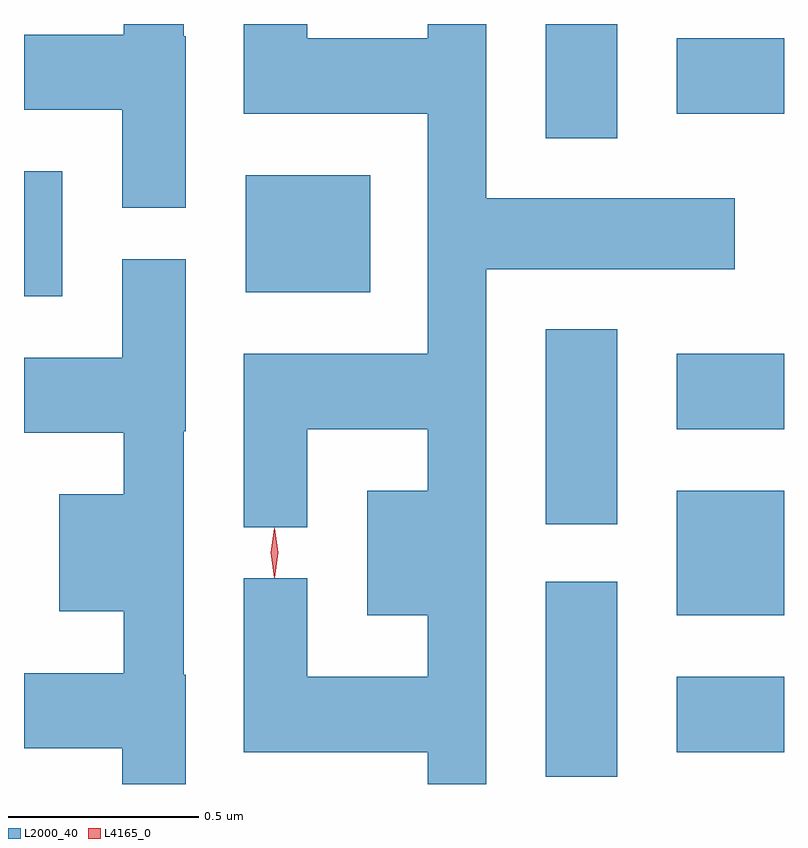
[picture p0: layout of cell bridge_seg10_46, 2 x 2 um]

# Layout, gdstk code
import gdstk
lib = gdstk.Library(unit=1e-6, precision=1e-09)
def R(c, l, rs):  # rectangles x0, y0, x1, y1
    for r in rs: c.add(gdstk.rectangle(r[:2], r[2:], *l))
def P(c, l, *ps):  # polygons
    for p in ps: c.add(gdstk.Polygon(p, *l))
L2000_40 = (2000, 40)
L4165_0 = (4165, 0)

bridge_seg10_46 = lib.new_cell('bridge_seg10_46')
R(bridge_seg10_46, L2000_40, [(1788.376,2168.581,1788.564,2169.094), (1788.721,2168.646,1789.003,2168.844), (1788.721,2169.006,1789.003,2169.334), (1788.376,2169.246,1788.564,2169.759), (1788.721,2169.496,1789.003,2169.694), (1787.003,2169.846,1787.104,2170.174), (1787.586,2169.856,1787.914,2170.164), (1788.376,2170.261,1788.564,2170.562), (1788.721,2170.326,1789.003,2170.524)])
P(bridge_seg10_46, L2000_40, [(1788.219,2169.916),(1788.874,2169.916),(1788.874,2170.104),(1788.219,2170.104),(1788.219,2170.562),(1788.066,2170.562),(1788.066,2170.524),(1787.749,2170.524),(1787.749,2170.562),(1787.581,2170.562),(1787.581,2170.326),(1788.066,2170.326),(1788.066,2169.694),(1787.581,2169.694),(1787.581,2169.238),(1787.749,2169.238),(1787.749,2169.496),(1788.066,2169.496),(1788.066,2169.334),(1787.906,2169.334),(1787.906,2169.006),(1788.066,2169.006),(1788.066,2168.844),(1787.749,2168.844),(1787.749,2169.103),(1787.581,2169.103),(1787.581,2168.646),(1788.066,2168.646),(1788.066,2168.562),(1788.219,2168.562)],
  [(1787.429,2170.53),(1787.424,2170.53),(1787.424,2170.562),(1787.266,2170.562),(1787.266,2170.534),(1787.003,2170.534),(1787.003,2170.336),(1787.261,2170.336),(1787.261,2170.078),(1787.429,2170.078)],
  [(1787.429,2168.85),(1787.424,2168.85),(1787.424,2169.49),(1787.429,2169.49),(1787.429,2169.943),(1787.261,2169.943),(1787.261,2169.684),(1787.003,2169.684),(1787.003,2169.486),(1787.266,2169.486),(1787.266,2169.324),(1787.096,2169.324),(1787.096,2169.016),(1787.266,2169.016),(1787.266,2168.854),(1787.003,2168.854),(1787.003,2168.656),(1787.261,2168.656),(1787.261,2168.562),(1787.429,2168.562)])
P(bridge_seg10_46, L4165_0, [(1787.662,2169.104),(1787.662,2169.105),(1787.652,2169.17),(1787.662,2169.235),(1787.662,2169.236),(1787.663,2169.235),(1787.672,2169.17),(1787.663,2169.105)])

lib.write_gds('bridge_seg10_46.gds')
